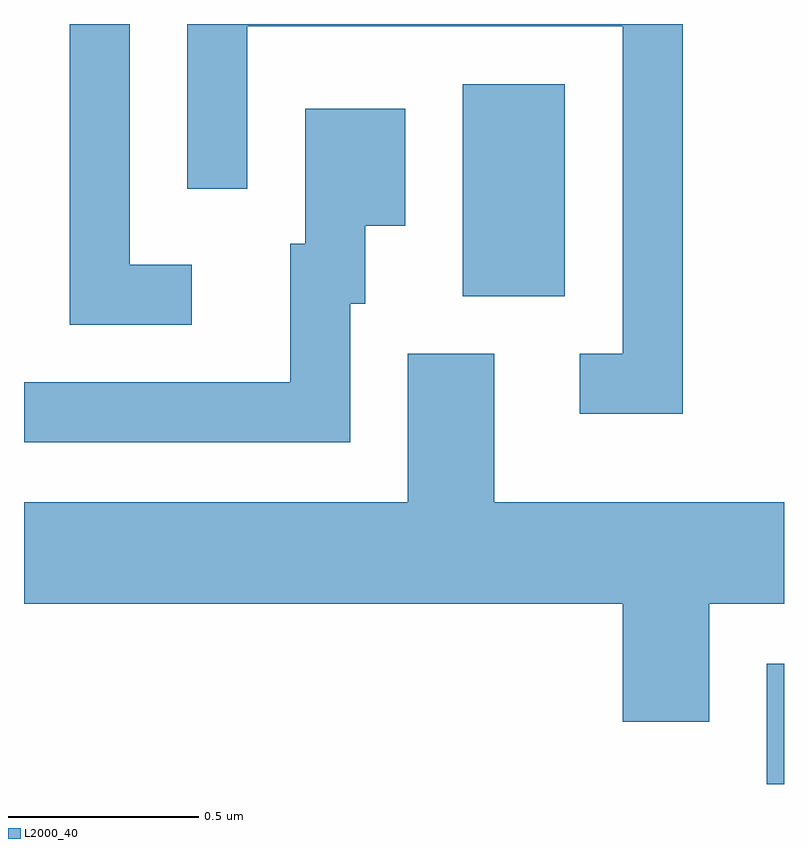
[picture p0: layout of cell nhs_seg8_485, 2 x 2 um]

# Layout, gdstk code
import gdstk
lib = gdstk.Library(unit=1e-6, precision=1e-09)
def R(c, l, rs):  # rectangles x0, y0, x1, y1
    for r in rs: c.add(gdstk.rectangle(r[:2], r[2:], *l))
def P(c, l, *ps):  # polygons
    for p in ps: c.add(gdstk.Polygon(p, *l))
L2000_40 = (2000, 40)

nhs_seg8_485 = lib.new_cell('nhs_seg8_485')
R(nhs_seg8_485, L2000_40, [(190.566,1880.342,190.611,1880.659), (189.766,1881.626,190.034,1882.184)])
P(nhs_seg8_485, L2000_40, [(189.053,1881.709),(188.889,1881.709),(188.889,1882.342),(188.731,1882.342),(188.731,1881.551),(189.053,1881.551)],
  [(190.344,1882.342),(189.041,1882.342),(189.041,1881.908),(189.199,1881.908),(189.199,1882.336),(190.186,1882.336),(190.186,1881.474),(190.073,1881.474),(190.073,1881.316),(190.344,1881.316)],
  [(189.469,1881.606),(189.509,1881.606),(189.509,1881.811),(189.614,1881.811),(189.614,1882.119),(189.351,1882.119),(189.351,1881.764),(189.311,1881.764),(189.311,1881.399),(188.611,1881.399),(188.611,1881.241),(189.469,1881.241)],
  [(190.414,1880.816),(190.611,1880.816),(190.611,1881.084),(189.849,1881.084),(189.849,1881.474),(189.621,1881.474),(189.621,1881.084),(188.611,1881.084),(188.611,1880.816),(190.186,1880.816),(190.186,1880.506),(190.414,1880.506)])

lib.write_gds('nhs_seg8_485.gds')
